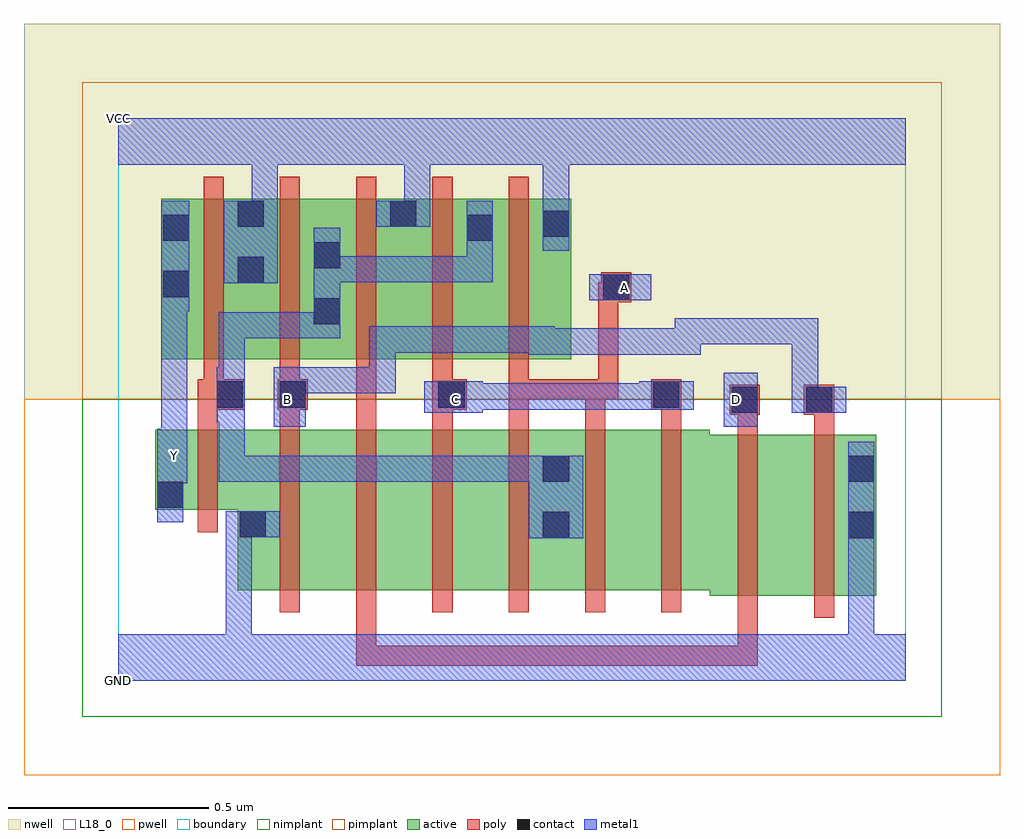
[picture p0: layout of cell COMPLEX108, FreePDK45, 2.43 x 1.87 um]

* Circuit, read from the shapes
.subckt COMPLEX108 A B C D GND VCC Y
M1 GND n1 Y VSUBS nfet w=0.2u l=0.05u
M2 n2 B GND VSUBS nfet w=0.4u l=0.05u
M3 n3 D n2 VSUBS nfet w=0.4u l=0.05u
M4 n4 C n3 VSUBS nfet w=0.4u l=0.05u
M5 n1 A n4 VSUBS nfet w=0.4u l=0.05u
M6 n5 A n1 VSUBS nfet w=0.4u l=0.05u
M7 n6 C n5 VSUBS nfet w=0.4u l=0.05u
M8 n7 D n6 VSUBS nfet w=0.4u l=0.05u
M9 GND B n7 VSUBS nfet w=0.4u l=0.05u
M10 VCC n1 Y n8 pfet w=0.4u l=0.05u
M11 n1 B VCC n8 pfet w=0.4u l=0.05u
M12 VCC D n1 n8 pfet w=0.4u l=0.05u
M13 n1 C VCC n8 pfet w=0.4u l=0.05u
M14 VCC A n1 n8 pfet w=0.4u l=0.05u
.ends

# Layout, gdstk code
import gdstk
lib = gdstk.Library(unit=1e-6, precision=1e-09)
def R(c, l, rs):  # rectangles x0, y0, x1, y1
    for r in rs: c.add(gdstk.rectangle(r[:2], r[2:], *l))
def A(c, l, x, y, w, h, nx, ny, dx, dy):  # array of equal rectangles
    R(c, l, [(x+i*dx, y+j*dy, x+i*dx+w, y+j*dy+h) for i in range(nx) for j in range(ny)])
active = (1, 0)
pwell = (2, 0)
nwell = (3, 0)
nimplant = (4, 0)
pimplant = (5, 0)
poly = (9, 0)
contact = (10, 0)
metal1 = (11, 0)
L18_0 = (18, 0)
boundary = (235, 0)

complex108 = lib.new_cell('COMPLEX108')
A(complex108, active, 0.292, 0.8, 0.265, 0.4, 4, 1, 0.19, 0)
R(complex108, active, [(1.472,0.212,1.662,0.612), (1.662,0.212,1.887,0.612), (0.297,0.225,0.522,0.625), (0.297,0.225,0.372,0.597), (0.522,0.225,0.712,0.625), (0.712,0.225,0.902,0.625), (0.902,0.225,1.127,0.625), (1.052,0.225,1.282,0.625), (1.282,0.225,1.472,0.625), (1.052,0.245,1.127,0.617), (1.812,0.245,1.887,0.612), (0.092,0.425,0.372,0.625), (0.092,0.425,0.167,0.625), (0.107,0.8,0.367,1.2), (0.107,0.8,0.182,1.165), (0.482,0.8,0.557,1.155), (1.052,0.8,1.127,1.175), (0.292,0.802,0.367,1.2), (0.672,0.907,0.747,1.2), (0.862,0.907,0.937,1.2)])
R(complex108, pwell, [(-0.235,-0.235,2.195,0.7)])
R(complex108, nwell, [(-0.235,0.7,2.195,1.635)])
R(complex108, nimplant, [(-0.09,-0.09,2.05,0.7)])
R(complex108, pimplant, [(-0.09,0.7,2.05,1.49)])
A(complex108, poly, 0.402, 0.17, 0.05, 0.51, 6, 1, 0.19, 0)
A(complex108, poly, 0.212, 0.7, 0.05, 0.095, 5, 1, 0.19, 0)
A(complex108, poly, 0.212, 0.745, 0.05, 0.51, 5, 1, 0.19, 0)
R(complex108, poly, [(0.592,0.037,0.642,0.087), (0.592,0.037,0.642,0.087), (0.592,0.037,0.642,0.087), (0.592,0.037,0.867,0.087), (0.592,0.037,0.642,0.22), (0.817,0.037,0.867,0.087), (0.817,0.037,0.867,0.087), (0.817,0.037,0.867,0.087), (0.817,0.037,1,0.087), (0.95,0.037,1,0.087), (0.95,0.037,1,0.087), (0.95,0.037,1,0.087), (0.95,0.037,1.245,0.087), (1.195,0.037,1.245,0.087), (1.195,0.037,1.245,0.087), (1.195,0.037,1.245,0.087), (1.195,0.037,1.377,0.087), (1.327,0.037,1.592,0.087), (1.327,0.037,1.377,0.087), (1.327,0.037,1.377,0.087), (1.327,0.037,1.377,0.087), (1.542,0.037,1.592,0.207), (1.542,0.037,1.592,0.087), (1.542,0.157,1.592,0.667), (1.732,0.157,1.782,0.667), (0.197,0.37,0.247,0.68), (1.542,0.617,1.592,0.712), (1.732,0.617,1.782,0.712), (0.197,0.63,0.247,0.725), (0.402,0.63,0.452,0.725), (0.592,0.63,0.642,0.75), (0.782,0.63,0.832,0.725), (0.972,0.63,1.022,0.75), (1.162,0.63,1.212,0.75), (1.352,0.63,1.402,0.725), (1.522,0.662,1.597,0.737), (1.707,0.662,1.782,0.737), (0.197,0.675,0.315,0.75), (0.397,0.675,0.472,0.75), (0.782,0.675,0.867,0.75), (1.327,0.675,1.402,0.75), (0.592,0.7,0.642,0.75), (0.972,0.7,1.022,0.75), (0.972,0.7,1.022,0.75), (0.972,0.7,1.022,0.75), (0.972,0.7,1.212,0.75), (1.162,0.7,1.245,0.75), (1.195,0.7,1.245,0.992), (1.195,0.942,1.252,0.992), (1.202,0.942,1.277,1.017), (1.202,0.942,1.252,0.992)])
R(complex108, contact, [(1.057,0.355,1.122,0.42), (1.817,0.355,1.882,0.42), (0.302,0.357,0.367,0.422), (0.097,0.43,0.162,0.495), (1.057,0.495,1.122,0.56), (1.817,0.495,1.882,0.56), (1.527,0.667,1.592,0.732), (1.712,0.667,1.777,0.732), (0.245,0.68,0.31,0.745), (0.402,0.68,0.467,0.745), (0.797,0.68,0.862,0.745), (1.332,0.68,1.397,0.745), (0.487,0.887,0.552,0.952), (1.207,0.947,1.272,1.012), (0.112,0.955,0.177,1.02), (0.297,0.99,0.362,1.055), (0.487,1.027,0.552,1.092), (0.112,1.095,0.177,1.16), (0.867,1.095,0.932,1.16), (1.057,1.105,1.122,1.17), (0.297,1.13,0.362,1.195), (0.677,1.13,0.742,1.195)])
R(complex108, metal1, [(0,0,1.96,0.115), (0.267,0.05,0.332,0.422), (1.817,0.05,1.882,0.385), (1.817,0.05,1.882,0.115), (1.817,0.05,1.882,0.115), (1.817,0.32,1.882,0.595), (1.022,0.355,1.157,0.56), (0.267,0.357,0.332,0.422), (0.267,0.357,0.332,0.422), (0.267,0.357,0.402,0.422), (0.097,0.395,0.162,0.53), (0.097,0.465,0.162,0.557), (0.097,0.492,0.172,0.627), (0.25,0.495,0.315,0.56), (0.25,0.495,0.452,0.56), (0.25,0.495,0.315,0.78), (0.387,0.495,0.452,0.56), (0.387,0.495,0.452,0.56), (0.387,0.495,0.452,0.56), (0.387,0.495,0.69,0.56), (0.625,0.495,0.69,0.56), (0.625,0.495,0.69,0.56), (0.625,0.495,0.69,0.56), (0.625,0.495,0.827,0.56), (0.762,0.495,0.827,0.56), (0.762,0.495,0.827,0.56), (0.762,0.495,0.827,0.56), (0.762,0.495,1.087,0.56), (1.022,0.495,1.087,0.56), (1.022,0.495,1.087,0.56), (0.107,0.562,0.172,0.985), (0.387,0.632,0.467,0.78), (1.507,0.632,1.592,0.767), (0.245,0.645,0.31,0.78), (0.762,0.667,0.907,0.745), (1.677,0.667,1.742,0.732), (1.677,0.667,1.742,0.732), (1.677,0.667,1.812,0.732), (1.677,0.667,1.742,0.902), (0.842,0.675,0.907,0.74), (0.842,0.675,0.907,0.74), (0.842,0.675,1.087,0.74), (1.022,0.675,1.087,0.74), (1.022,0.675,1.087,0.74), (1.022,0.675,1.087,0.74), (1.022,0.675,1.225,0.74), (1.16,0.675,1.225,0.74), (1.16,0.675,1.312,0.74), (1.247,0.675,1.312,0.74), (1.247,0.675,1.362,0.74), (1.297,0.675,1.432,0.745), (0.245,0.715,0.31,0.78), (0.245,0.715,0.315,0.78), (0.25,0.715,0.315,0.917), (0.402,0.715,0.467,0.78), (0.402,0.715,0.467,0.78), (0.402,0.715,0.69,0.78), (0.625,0.715,0.69,0.78), (0.625,0.715,0.69,0.78), (0.625,0.715,0.69,0.78), (0.625,0.715,0.69,0.882), (1.022,0.812,1.087,0.877), (1.022,0.812,1.087,0.877), (1.022,0.812,1.225,0.877), (1.022,0.812,1.087,0.882), (1.16,0.812,1.225,0.877), (1.16,0.812,1.225,0.877), (1.16,0.812,1.225,0.877), (1.16,0.812,1.435,0.877), (1.37,0.812,1.435,0.877), (1.37,0.812,1.45,0.877), (1.385,0.812,1.45,0.902), (0.625,0.817,0.69,0.882), (0.625,0.817,0.95,0.882), (0.885,0.817,0.95,0.882), (0.885,0.817,0.95,0.882), (0.885,0.817,0.95,0.882), (0.885,0.817,1.087,0.882), (1.385,0.837,1.572,0.902), (1.507,0.837,1.572,0.902), (1.507,0.837,1.742,0.902), (1.677,0.837,1.742,0.902), (0.25,0.852,0.315,0.917), (0.25,0.852,0.552,0.917), (0.487,0.852,0.552,1.127), (0.487,0.852,0.552,0.917), (0.487,0.852,0.552,0.917), (0.107,0.92,0.177,1.195), (1.172,0.947,1.327,1.012), (0.262,0.99,0.397,1.195), (0.487,0.992,0.552,1.057), (0.487,0.992,0.69,1.057), (0.487,0.992,0.552,1.127), (0.625,0.992,0.69,1.057), (0.625,0.992,0.69,1.057), (0.625,0.992,0.69,1.057), (0.625,0.992,0.932,1.057), (0.867,0.992,0.932,1.125), (0.867,1.06,0.932,1.125), (0.867,1.06,0.932,1.195), (1.057,1.07,1.122,1.205), (0.332,1.13,0.397,1.35), (0.642,1.13,0.777,1.195), (0.712,1.13,0.777,1.35), (1.057,1.14,1.122,1.35), (0,1.285,1.96,1.4)])
R(complex108, L18_0, [(0,0,1.96,0.115), (0.267,0.05,0.332,0.422), (1.817,0.05,1.882,0.115), (1.817,0.05,1.882,0.115), (1.817,0.05,1.882,0.385), (1.817,0.32,1.882,0.595), (0.267,0.357,0.332,0.422), (0.267,0.357,0.332,0.422), (0.267,0.357,0.402,0.422), (0.097,0.395,0.162,0.53), (0.097,0.465,0.162,0.557), (0.097,0.492,0.172,0.627), (0.107,0.527,0.172,0.592), (0.107,0.562,0.172,0.985), (0.387,0.632,0.467,0.78), (1.507,0.632,1.592,0.767), (0.387,0.667,0.452,0.732), (0.762,0.667,0.907,0.745), (0.807,0.667,0.872,0.732), (1.507,0.667,1.572,0.732), (1.677,0.667,1.742,0.732), (1.677,0.667,1.742,0.732), (1.677,0.667,1.812,0.732), (1.677,0.667,1.742,0.902), (0.842,0.675,0.907,0.74), (0.842,0.675,0.907,0.74), (0.842,0.675,1.087,0.74), (1.022,0.675,1.087,0.74), (1.022,0.675,1.087,0.74), (1.022,0.675,1.087,0.74), (1.022,0.675,1.225,0.74), (1.16,0.675,1.225,0.74), (1.16,0.675,1.312,0.74), (1.247,0.675,1.312,0.74), (1.247,0.675,1.362,0.74), (1.297,0.675,1.432,0.745), (0.402,0.715,0.467,0.78), (0.402,0.715,0.467,0.78), (0.402,0.715,0.69,0.78), (0.625,0.715,0.69,0.78), (0.625,0.715,0.69,0.78), (0.625,0.715,0.69,0.78), (0.625,0.715,0.69,0.882), (1.022,0.812,1.087,0.877), (1.022,0.812,1.087,0.877), (1.022,0.812,1.087,0.882), (1.022,0.812,1.225,0.877), (1.16,0.812,1.225,0.877), (1.16,0.812,1.225,0.877), (1.16,0.812,1.225,0.877), (1.16,0.812,1.435,0.877), (1.37,0.812,1.435,0.877), (1.37,0.812,1.45,0.877), (1.385,0.812,1.45,0.902), (0.625,0.817,0.69,0.882), (0.625,0.817,0.95,0.882), (0.885,0.817,0.95,0.882), (0.885,0.817,0.95,0.882), (0.885,0.817,0.95,0.882), (0.885,0.817,1.087,0.882), (1.385,0.837,1.572,0.902), (1.507,0.837,1.572,0.902), (1.507,0.837,1.742,0.902), (1.677,0.837,1.742,0.902), (0.107,0.92,0.177,1.195), (1.172,0.947,1.327,1.012), (1.227,0.947,1.292,1.012), (0.262,0.99,0.397,1.195), (1.057,1.07,1.122,1.205), (0.332,1.13,0.397,1.35), (0.642,1.13,0.777,1.195), (0.712,1.13,0.777,1.35), (1.057,1.14,1.122,1.35), (0,1.285,1.96,1.4)])
R(complex108, boundary, [(0,0,1.96,1.4)])
complex108.add(gdstk.Label('A', (1.26,0.98), layer=11, texttype=0))
complex108.add(gdstk.Label('B', (0.42,0.7), layer=11, texttype=0))
complex108.add(gdstk.Label('C', (0.84,0.7), layer=11, texttype=0))
complex108.add(gdstk.Label('D', (1.54,0.7), layer=11, texttype=0))
complex108.add(gdstk.Label('Y', (0.14,0.56), layer=11, texttype=0))
complex108.add(gdstk.Label('VCC', (0,1.4), layer=11, texttype=0))
complex108.add(gdstk.Label('GND', (0,0), layer=11, texttype=0))

lib.write_gds('COMPLEX108.gds')
